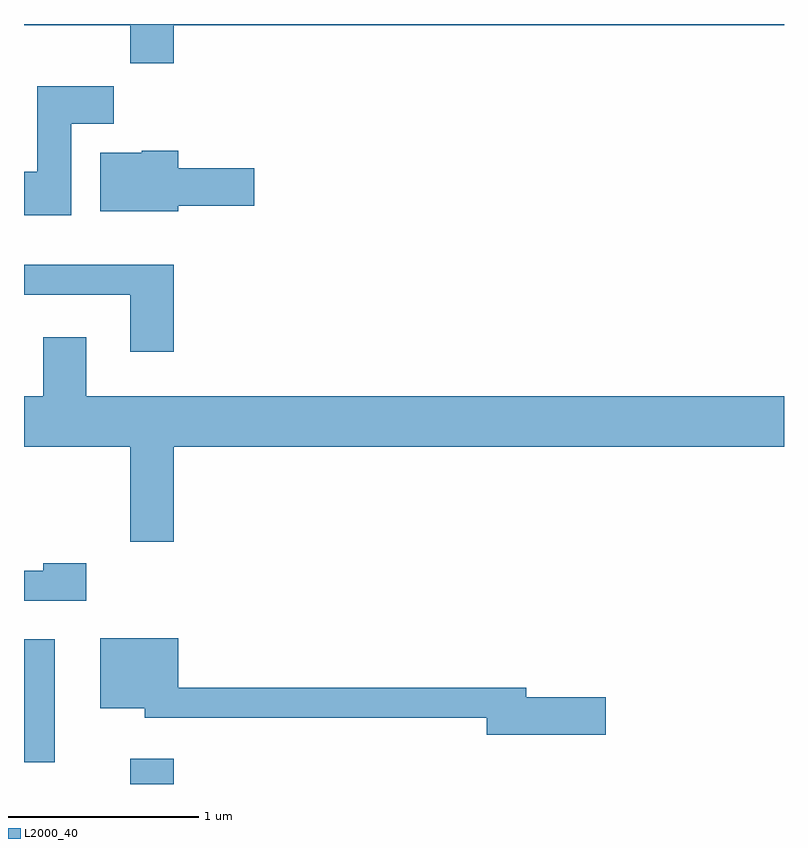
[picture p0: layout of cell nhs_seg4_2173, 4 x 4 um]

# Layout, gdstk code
import gdstk
lib = gdstk.Library(unit=1e-6, precision=1e-09)
def R(c, l, rs):  # rectangles x0, y0, x1, y1
    for r in rs: c.add(gdstk.rectangle(r[:2], r[2:], *l))
def P(c, l, *ps):  # polygons
    for p in ps: c.add(gdstk.Polygon(p, *l))
L2000_40 = (2000, 40)

nhs_seg4_2173 = lib.new_cell('nhs_seg4_2173')
R(nhs_seg4_2173, L2000_40, [(248.171,1383.982,248.399,1384.114), (247.611,1384.096,247.774,1384.744)])
P(nhs_seg4_2173, L2000_40, [(248.399,1387.976),(251.611,1387.976),(251.611,1387.982),(247.611,1387.982),(247.611,1387.976),(248.171,1387.976),(248.171,1387.776),(248.399,1387.776)],
  [(247.859,1387.456),(248.084,1387.456),(248.084,1387.654),(247.681,1387.654),(247.681,1387.204),(247.611,1387.204),(247.611,1386.976),(247.859,1386.976)],
  [(248.424,1387.026),(248.824,1387.026),(248.824,1387.224),(248.424,1387.224),(248.424,1387.314),(248.23,1387.314),(248.23,1387.304),(248.011,1387.304),(248.011,1386.996),(248.424,1386.996)],
  [(248.399,1386.714),(247.611,1386.714),(247.611,1386.556),(248.171,1386.556),(248.171,1386.256),(248.399,1386.256)],
  [(248.399,1385.756),(251.611,1385.756),(251.611,1386.024),(247.939,1386.024),(247.939,1386.334),(247.711,1386.334),(247.711,1386.024),(247.611,1386.024),(247.611,1385.756),(248.171,1385.756),(248.171,1385.256),(248.399,1385.256)],
  [(247.939,1385.144),(247.711,1385.144),(247.711,1385.104),(247.611,1385.104),(247.611,1384.946),(247.939,1384.946)],
  [(250.674,1384.439),(250.254,1384.439),(250.254,1384.489),(248.424,1384.489),(248.424,1384.749),(248.011,1384.749),(248.011,1384.381),(248.246,1384.381),(248.246,1384.331),(250.046,1384.331),(250.046,1384.241),(250.674,1384.241)])

lib.write_gds('nhs_seg4_2173.gds')
